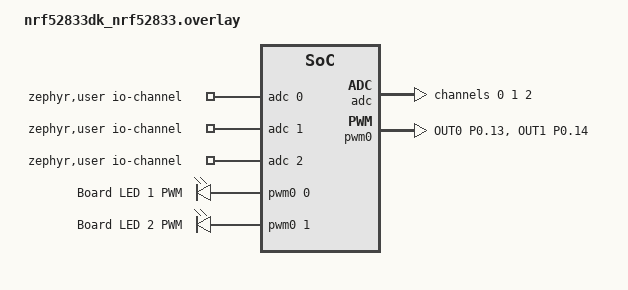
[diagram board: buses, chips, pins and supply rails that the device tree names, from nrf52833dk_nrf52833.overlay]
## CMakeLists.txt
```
# SPDX-License-Identifier: Apache-2.0

cmake_minimum_required(VERSION 3.20.0)
find_package(Zephyr REQUIRED HINTS $ENV{ZEPHYR_BASE})
project(blinky)

target_sources(app PRIVATE src/main.c src/bt_iphone.c)
```

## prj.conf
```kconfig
CONFIG_GPIO=y
CONFIG_LOG=y
CONFIG_ADC=y
CONFIG_ADC_NRFX_SAADC=y
CONFIG_CBPRINTF_FP_SUPPORT=y
CONFIG_PWM=y
CONFIG_BT=y
CONFIG_BT_PERIPHERAL=y
CONFIG_BT_DEVICE_NAME="SatyaDK"
CONFIG_BT_DEVICE_APPEARANCE=0
CONFIG_BT_MAX_CONN=1
CONFIG_BT_LL_SOFTDEVICE=y
CONFIG_BT_BAS=y
CONFIG_BT_SETTINGS=y
CONFIG_SETTINGS_RUNTIME=y
CONFIG_SETTINGS=y
CONFIG_SETTINGS_NONE=y
CONFIG_BT_DIS=y
CONFIG_BT_DIS_SETTINGS=y
CONFIG_BT_DIS_STR_MAX=25
CONFIG_BT_DIS_MODEL="BME_590_Final_Project"
CONFIG_BT_DIS_MANUF="Satya_Pusuluri"
CONFIG_BT_DIS_SERIAL_NUMBER=y
CONFIG_BT_DIS_SERIAL_NUMBER_STR="0001"
CONFIG_BT_DIS_FW_REV=y
CONFIG_BT_DIS_FW_REV_STR="0.1.0"
CONFIG_BT_DIS_HW_REV=y
CONFIG_BT_DIS_HW_REV_STR="0.1.0"
CONFIG_BT_DIS_SW_REV=y
CONFIG_BT_DIS_SW_REV_STR="0.1.0"
CONFIG_BT_DIS_PNP=y
CONFIG_BT_DIS_PNP_VID_SRC=1
CONFIG_BT_DIS_PNP_VID=0x03DF
```

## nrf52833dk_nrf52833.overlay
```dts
// To get started, press Ctrl+Space (or Option+Esc) to bring up the completion menu and view the available nodes.

// You can also use the buttons in the sidebar to perform actions on nodes.
// Actions currently available include:

// * Enabling / disabling the node
// * Adding the bus to a bus
// * Removing the node
// * Connecting ADC channels

// For more help, browse the DeviceTree documentation at https://docs.zephyrproject.org/latest/guides/dts/index.html
// You can also visit the nRF DeviceTree extension documentation at https://nrfconnect.github.io/vscode-nrf-connect/devicetree/nrfdevicetree.html
/ {
	zephyr,user {
		io-channels = <&adc 0>, <&adc 1>, <&adc 2>;
	};
    aliases{
		drv1 = &in1;
		drv2 = &in2;
        sin100 = &reslow;
        sin500 = &reshigh;
		vbat = &voltbat;
		button0=&button0;
		button1=&button1;
		button2=&button2;
    };
	pwm_mtr{
		compatible = "pwm-leds";
		in1: in_1 {
			pwms= <&pwm0 0 PWM_MSEC(1) PWM_POLARITY_INVERTED>;
			label = "Board LED 1 PWM";
		};

		in2: in_2 {
			pwms= <&pwm0 1 PWM_MSEC(1) PWM_POLARITY_INVERTED>;
			label = "Board LED 2 PWM";
		};
	};
};
&adc {
	#address-cells = <1>;
	#size-cells = <0>;

	reslow: channel@0 {
		reg = <0>;
		zephyr,gain = "ADC_GAIN_1";
		zephyr,reference = "ADC_REF_INTERNAL";
		zephyr,acquisition-time = <ADC_ACQ_TIME_DEFAULT>;
		zephyr,input-positive = <NRF_SAADC_AIN1>; // P0.03
        zephyr,input-negative = <NRF_SAADC_AIN2>; // P0.04
		zephyr,resolution = <12>;
	};

	reshigh: channel@1 {
		reg = <1>;
		zephyr,gain = "ADC_GAIN_1";
		zephyr,reference = "ADC_REF_INTERNAL";
		zephyr,acquisition-time = <ADC_ACQ_TIME_DEFAULT>;
		zephyr,input-positive = <NRF_SAADC_AIN4>; //P0.28
        zephyr,input-negative = <NRF_SAADC_AIN5>; //P0.29
		zephyr,resolution = <12>;
	};

	voltbat: channel@2 {
		reg = <2>;
		zephyr,gain = "ADC_GAIN_1_6";
		zephyr,reference = "ADC_REF_INTERNAL";
		zephyr,acquisition-time = <ADC_ACQ_TIME_DEFAULT>;
		zephyr,input-positive = <NRF_SAADC_AIN7>; // P0.31
		zephyr,resolution = <12>;
	};

	status = "okay";
};
&pwm0 {
	compatible = "nordic,nrf-pwm";
	reg = <0x4001c000 0x1000>;
	interrupts = <28 NRF_DEFAULT_IRQ_PRIORITY>; status = "okay";
	#pwm-cells = <3>;
	pinctrl-0 = <&pwm0_default>;
	pinctrl-1 = <&pwm0_sleep>;
	pinctrl-names = "default", "sleep";
};
&pinctrl {
    compatible = "nordic,nrf-pinctrl";
    status = "okay";
    pwm0_default: pwm0_default {
		group1 {
			psels = <NRF_PSEL(PWM_OUT0, 0, 13)>,
			<NRF_PSEL(PWM_OUT1, 0, 14)>; 
			nordic,invert;
		};
	 };
	pwm0_sleep: pwm0_sleep {
		group1 {
			psels = <NRF_PSEL(PWM_OUT0, 0, 13)>,
			<NRF_PSEL(PWM_OUT1,0,14)>;
		};
	};
};
```

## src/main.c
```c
#include <zephyr/kernel.h>
#include <zephyr/device.h>
#include <zephyr/drivers/gpio.h>
#include <zephyr/logging/log.h>
#include <zephyr/drivers/adc.h>
#include <zephyr/drivers/pwm.h>
#include <nrfx_power.h>
#include <math.h>
#include "bt_iphone.h"

LOG_MODULE_REGISTER(Final_Project, LOG_LEVEL_DBG);

#define ADC_SIN100_SAMPLE_RATE_MSEC 1
#define ADC_SIN500_SAMPLE_RATE_MSEC 1
#define LED3_ON_TIME_MS 1000
#define RMS_DATA_SAMPLE_RATE_MSEC 1000
#define ADC_SIN100_SAMPLE_SIZE 1000
#define ADC_SIN500_SAMPLE_SIZE 1000
#define VPP_CONV_RMS M_SQRT2
#define BLE_DATA_POINTS 10
#define LED_MAX_BRIGHTNESS 1
#define ADC_SIN100_MIN_VPP 5
#define ADC_SIN100_MAX_VPP 50
#define ADC_SIN500_MIN_VPP 10
#define ADC_SIN500_MAX_VPP 150 
#define NOMINAL_BAT_MV 3700
#define MAX_INPUT_MV 3000

#define ADC_DT_SPEC_GET_BY_ALIAS(node_id)                         \
    {                                                            \
        .dev = DEVICE_DT_GET(DT_PARENT(DT_ALIAS(node_id))),        \
        .channel_id = DT_REG_ADDR(DT_ALIAS(node_id)),            \
        ADC_CHANNEL_CFG_FROM_DT_NODE(DT_ALIAS(node_id))            \
    }                                                            \

#define DT_SPEC_AND_COMMA(node_id, prop, idx) \
	ADC_DT_SPEC_GET_BY_IDX(node_id, idx),

/* ADC channels (specified in DT overlay) */
static const struct adc_dt_spec adc_sin100 = ADC_DT_SPEC_GET_BY_ALIAS(sin100);
static const struct adc_dt_spec adc_sin500 = ADC_DT_SPEC_GET_BY_ALIAS(sin500);
static const struct adc_dt_spec adc_vbat = ADC_DT_SPEC_GET_BY_ALIAS(vbat);

/* PWM Channels */
static const struct pwm_dt_spec board_led1_drv = PWM_DT_SPEC_GET(DT_ALIAS(drv1)); 
static const struct pwm_dt_spec board_led2_drv = PWM_DT_SPEC_GET(DT_ALIAS(drv2));

/* LEDs */
static const struct gpio_dt_spec board_led1 = GPIO_DT_SPEC_GET(DT_ALIAS(led0), gpios);
static const struct gpio_dt_spec board_led2 = GPIO_DT_SPEC_GET(DT_ALIAS(led1), gpios);
static const struct gpio_dt_spec board_led3 = GPIO_DT_SPEC_GET(DT_ALIAS(led2), gpios);

/* Buttons */
static const struct gpio_dt_spec board_button1 = GPIO_DT_SPEC_GET(DT_ALIAS(button0), gpios);
static const struct gpio_dt_spec board_button2 = GPIO_DT_SPEC_GET(DT_ALIAS(button1), gpios);
static const struct gpio_dt_spec board_button3 = GPIO_DT_SPEC_GET(DT_ALIAS(button2), gpios);

/* Static Variables */
static int adc_sin100_mV = 0;
static int adc_sin500_mV = 0;
static float adc_sin100_RMS = 0.0;
static float adc_sin500_RMS = 0.0;
static int adc_sin100_VPP = 0;
static int adc_sin500_VPP = 0;
static int adc_vbat_mV = 0;
static float adc_sin100_percent_voltage;
static float adc_sin500_percent_voltage;
static int rms_data_count = 0;
static bool usbregstatus;
static bool vbus_state = 0;

/* Callback Declarations */
static struct gpio_callback board_button1_cb;
static struct gpio_callback board_button2_cb;
static struct gpio_callback board_button3_cb;
static struct bt_conn *current_conn;


/* Array Variables */
int sin100_values_mV[ADC_SIN100_SAMPLE_SIZE] = {0}; 
int sin500_values_mV[ADC_SIN500_SAMPLE_SIZE] = {0};
uint8_t RMS_data[BLE_DATA_POINTS] = {0};

/* Declarations */
void on_connected(struct bt_conn *conn, uint8_t ret);
void on_disconnected(struct bt_conn *conn, uint8_t reason);
void on_notif_changed(enum bt_data_notifications_enabled status);
void on_data_rx(struct bt_conn *conn, const uint8_t *const data, uint16_t len);
int setup_channels_and_pins(void);
int check_interfaces_ready(void);
int check_vbus(void);
void board_button1_callback(const struct device *dev, struct gpio_callback *cb, uint32_t pins);
void board_button2_callback(const struct device *dev, struct gpio_callback *cb, uint32_t pins);
void board_button3_callback(const struct device *dev, struct gpio_callback *cb, uint32_t pins);
int read_adc(struct adc_dt_spec adc_channel);
void read_adc_sin100(struct k_timer *adc_sin100_timer);
void read_adc_sin500(struct k_timer *adc_sin500_timer);
void collect_rms_data(struct k_timer *rms_collection_timer);
void stop_rms_data(struct k_timer *rms_collection_timer);
void boardled3_toggle(struct k_timer *vbus_timer);
void boardled3_stop(struct k_timer *vbus_timer);
float adc_sin100_calculate_led_brightness(int val_VPP);
float adc_sin500_calculate_led_brightness(int val_VPP);
float calculate_led_brightness(int val_VPP, int min_VPP, int max_VPP);
int calculate_ratio_voltage(int input_bat_mV);

/* BLE Structures and Callbacks */

struct bt_conn_cb bluetooth_callbacks = {
	.connected = on_connected,
	.disconnected = on_disconnected,
};

struct bt_remote_srv_cb remote_service_callbacks = {
	.notif_changed = on_notif_changed,
	.data_rx = on_data_rx,
};

void on_data_rx(struct bt_conn *conn, const uint8_t *const data, uint16_t len)
{
	// manually append NULL character at the end
	uint8_t temp_str[len+1];
	memcpy(temp_str, data, len);
	temp_str[len] = 0x00;

	LOG_INF("BT received data on conn %p. Len: %d", (void *)conn, len);
	LOG_INF("Data: %s", temp_str);
}

void on_connected(struct bt_conn *conn, uint8_t ret) 
{
	if (ret) {
		LOG_ERR("Connection error: %d", ret);
	}
	LOG_INF("BT connected");
	current_conn = bt_conn_ref(conn);
}

void on_disconnected(struct bt_conn *conn, uint8_t reason)
{
	LOG_INF("BT disconnected (reason: %d)", reason);
	if (current_conn) {
		bt_conn_unref(current_conn);
		current_conn = NULL;
	}
}

void on_notif_changed(enum bt_data_notifications_enabled status)
{
	if (status == BT_DATA_NOTIFICATIONS_ENABLED) {
		LOG_INF("BT notifications enabled");
	}
	else {
		LOG_INF("BT notifications disabled");
	}
}


/* Define Timers*/
K_TIMER_DEFINE(adc_sin100_timer, read_adc_sin100, NULL);
K_TIMER_DEFINE(adc_sin500_timer, read_adc_sin500, NULL);
K_TIMER_DEFINE(rms_collection_timer, collect_rms_data, stop_rms_data);
K_TIMER_DEFINE(vbus_timer, boardled3_toggle, boardled3_stop);

/* Timer Functions*/
void read_adc_sin100(struct k_timer *adc_sin100_timer){
	for (int i=0; i < ADC_SIN100_SAMPLE_SIZE - 1; i++){
		sin100_values_mV[i] = sin100_values_mV[i+1];
	}
	sin100_values_mV[ADC_SIN100_SAMPLE_SIZE -1] = adc_sin100_mV;
}
void read_adc_sin500(struct k_timer *adc_sin500_timer){
	//LOG_DBG("Reading Sinusoid 500 Hz");
	for (int i=0; i < ADC_SIN500_SAMPLE_SIZE - 1; i++){
		sin500_values_mV[i] = sin500_values_mV[i+1];
	}
	sin500_values_mV[ADC_SIN500_SAMPLE_SIZE -1] = adc_sin500_mV;
}
void collect_rms_data(struct k_timer *rms_collection_timer){
	/*RMS_data array looks like this: 
	[1 sec 100 Hz sinusoid RMS, 1 sec 500 Hz sinusoid RMS
	2 sec 100 Hz sinusoid RMS, 2 sec 500 Hz sinusoid RMS
	3 sec 100 Hz sinusoid RMS, 3 sec 500 Hz sinusoid RMS
	4 sec 100 Hz sinusoid RMS, 4 sec 500 Hz sinusoid RMS
	5 sec 100 Hz sinusoid RMS, 5 sec 500 Hz sinusoid RMS]
	*/
	LOG_DBG("RMS Data Collected");
	RMS_data[rms_data_count]= (uint8_t) adc_sin100_RMS;
	rms_data_count++;
	RMS_data[rms_data_count]= (uint8_t) adc_sin500_RMS;
	if(rms_data_count == BLE_DATA_POINTS - 1){
		k_timer_stop(rms_collection_timer);
		rms_data_count = 0;
		set_data(RMS_data);
	}
	else{
		rms_data_count++;
	}
}
void stop_rms_data(struct k_timer *rms_collection_timer){
	LOG_DBG("RMS Data Stopped");
}
void boardled3_toggle(struct k_timer *vbus_timer){
	gpio_pin_toggle_dt(&board_led3);
	LOG_DBG("LED 3 Toggle");
}
void boardled3_stop(struct k_timer *vbus_timer){
	LOG_DBG("LED 3 turned off.");
	gpio_pin_set_dt(&board_led3, 0);
}
/* Callbacks */
void board_button1_callback(const struct device *dev, struct gpio_callback *cb, uint32_t pins)
{
	LOG_DBG("Button 1 pressed.");
	k_timer_start(&rms_collection_timer, K_MSEC(RMS_DATA_SAMPLE_RATE_MSEC), K_MSEC(RMS_DATA_SAMPLE_RATE_MSEC));
}
void board_button2_callback(const struct device *dev, struct gpio_callback *cb, uint32_t pins)
{
	int err;
	err = send_data_notification(current_conn, RMS_data, BLE_DATA_POINTS);
	if (err){
		LOG_ERR("Could not send BT notification (err: %d)", err);
	}
	else{
		LOG_INF("BT data transmitted.");
	}
}

void board_button3_callback(const struct device *dev, struct gpio_callback *cb, uint32_t pins)
{
	/* Callback updates battery level */
	int err;
	float normalized_level;
	LOG_INF("Battery Voltage (mV): %d", adc_vbat_mV);
	normalized_level = (float)adc_vbat_mV*100.0/(float)NOMINAL_BAT_MV;
	LOG_INF("Normalized Battery Level: %f", normalized_level);
	err = bt_bas_set_battery_level((int)normalized_level);
	if (err){
		LOG_ERR("BAS set error (err = %d)", err);
	}
	else{
		LOG_DBG("Battery Level set sucessfullly.");
	}
}

/* RMS calculation function */
float calculate_rms(int sin_arr[], int sample_size){
	float array_sum = 0.0;
	for (int i = 0; i < sample_size; i++){
		array_sum += (float)sin_arr[i] * (float)sin_arr[i];
	}
	return sqrtf(array_sum / (float)sample_size);
}

int calculate_VPP(float rms_value){
	return (int)(rms_value * VPP_CONV_RMS);
}

void main(void)
{
	int err;
	err = check_interfaces_ready();
	if (err){
		LOG_ERR("Device interface not ready (err = %d)", err);
	}
	err = setup_channels_and_pins();
	if (err){
		LOG_ERR("Error configuring IO pins (err = %d", err);
	}
	/* Setup Callbacks */
	err = gpio_pin_interrupt_configure_dt(&board_button1, GPIO_INT_EDGE_TO_ACTIVE);
	if (err < 0){
		LOG_ERR("Error configuring button 1 callback");
		return;
	}	
	gpio_init_callback(&board_button1_cb, board_button1_callback, BIT(board_button1.pin));
	gpio_add_callback(board_button1.port, &board_button1_cb);

	err = gpio_pin_interrupt_configure_dt(&board_button2, GPIO_INT_EDGE_TO_ACTIVE);
	if (err < 0){
		LOG_ERR("Error configuring button 2 callback");
		return;
	}
	gpio_init_callback(&board_button2_cb, board_button2_callback, BIT(board_button2.pin));
	gpio_add_callback(board_button2.port, &board_button2_cb);

	err = gpio_pin_interrupt_configure_dt(&board_button3, GPIO_INT_EDGE_TO_ACTIVE);
	if (err < 0){
		LOG_ERR("Error configuring button 3 callback");
		return;
	}
	gpio_init_callback(&board_button3_cb, board_button3_callback, BIT(board_button3.pin));
	gpio_add_callback(board_button3.port, &board_button3_cb);

	gpio_pin_set_dt(&board_led1, 1);
	gpio_pin_set_dt(&board_led2, 1);	
	/* Bluetooh Setup */
	err = bluetooth_init(&bluetooth_callbacks, &remote_service_callbacks);
	if (err){
		LOG_ERR("BT init failed (err = %d)", err);
	}
	k_timer_start(&adc_sin100_timer, K_MSEC(ADC_SIN100_SAMPLE_RATE_MSEC), K_MSEC(ADC_SIN100_SAMPLE_RATE_MSEC));
	k_timer_start(&adc_sin500_timer, K_MSEC(ADC_SIN500_SAMPLE_RATE_MSEC), K_MSEC(ADC_SIN500_SAMPLE_RATE_MSEC));
	while (1) {
		/* VBUS Check */
		err = check_vbus();
		if (err && !vbus_state){
			vbus_state = 1;
			k_timer_start(&vbus_timer, K_MSEC(LED3_ON_TIME_MS), K_MSEC(LED3_ON_TIME_MS));
			k_timer_stop(&adc_sin100_timer);
			k_timer_stop(&adc_sin500_timer);
			continue;
		}
		if (err && vbus_state){
			continue;
		}
		if (!err && vbus_state){
			k_timer_stop(&vbus_timer);
			k_timer_start(&adc_sin100_timer, K_MSEC(ADC_SIN100_SAMPLE_RATE_MSEC), K_MSEC(ADC_SIN100_SAMPLE_RATE_MSEC));
			k_timer_start(&adc_sin500_timer, K_MSEC(ADC_SIN500_SAMPLE_RATE_MSEC), K_MSEC(ADC_SIN500_SAMPLE_RATE_MSEC));		
			vbus_state = 0;
		}
		/* Read ADC Channels */
		adc_sin100_mV = read_adc(adc_sin100);
		adc_sin500_mV = read_adc(adc_sin500);
		adc_vbat_mV = calculate_ratio_voltage(read_adc(adc_vbat));
		/* Calculate RMS & VPP */
		adc_sin100_RMS = calculate_rms(sin100_values_mV, ADC_SIN100_SAMPLE_SIZE);
		adc_sin500_RMS = calculate_rms(sin500_values_mV, ADC_SIN500_SAMPLE_SIZE);
		adc_sin100_VPP = calculate_VPP(adc_sin100_RMS);
		adc_sin500_VPP = calculate_VPP(adc_sin500_RMS);
		/* Calculate LED Brightness Percentage */
		adc_sin100_percent_voltage = calculate_led_brightness(adc_sin100_VPP, ADC_SIN100_MIN_VPP, ADC_SIN100_MAX_VPP);
		if (adc_sin100_percent_voltage < 0){
			adc_sin100_percent_voltage = 0.0;
		}
		if (adc_sin100_percent_voltage > 1){
			adc_sin100_percent_voltage = 1.0;
		}
		adc_sin500_percent_voltage = calculate_led_brightness(adc_sin500_VPP, ADC_SIN500_MIN_VPP, ADC_SIN500_MAX_VPP);
		if (adc_sin500_percent_voltage < 0){
			adc_sin500_percent_voltage = 0.0;
		}
		if (adc_sin500_percent_voltage > 1){
			adc_sin500_percent_voltage = 1.0;
		}
		/* Set PWM Pulse */
		uint32_t board_led1_pulse = board_led1_drv.period * adc_sin100_percent_voltage;
		uint32_t board_led2_pulse = board_led2_drv.period * adc_sin500_percent_voltage;
		err = pwm_set_pulse_dt(&board_led1_drv, board_led1_pulse);
		if (err) {
			LOG_ERR("Could not set Board LED 1 (PWM0)");
		}
		err = pwm_set_pulse_dt(&board_led2_drv, board_led2_pulse);
		if (err) {
			LOG_ERR("Could not set Board LED 2 (PWM0)");
		}
	}
}
int read_adc(struct adc_dt_spec adc_channel)
{
	int16_t buf;
	int32_t val_mv;
	int ret;

	struct adc_sequence sequence = {
		.buffer = &buf,
		.buffer_size = sizeof(buf), // bytes
	};

	//LOG_INF("Measuring %s (channel %d)... ", adc_channel.dev->name, adc_channel.channel_id);

	(void)adc_sequence_init_dt(&adc_channel, &sequence);

	ret = adc_read(adc_channel.dev, &sequence);
	if (ret < 0) {
		//LOG_ERR("Could not read (%d)", ret);
	} else {
		//LOG_DBG("Raw ADC Buffer: %d", buf);
	}

	val_mv = buf;
	ret = adc_raw_to_millivolts_dt(&adc_channel, &val_mv);
	if (ret < 0) {
		//LOG_WRN("Buffer cannot be converted to mV; returning raw buffer value.");
		return buf;
	} else {
		//LOG_INF("ADC Value (mV): %d", val_mv);
		return val_mv;
	}
}
int check_interfaces_ready(void){
	/* This should check for the entire gpio0 interface*/
	if (!device_is_ready(board_led1.port)) {
		LOG_ERR("gpio0 interface not ready.");
		return -1;
	}
	/* This should check ADC channels*/
	if (!device_is_ready(adc_sin100.dev) || !device_is_ready(adc_sin500.dev) || !device_is_ready(adc_vbat.dev)) {
		LOG_ERR("ADC controller device(s) not ready");
		return -1;
	}
	if (!device_is_ready(board_led1_drv.dev)) {
		LOG_ERR("PWM Device %s is not ready.", board_led1_drv.dev->name);
		return -1;
	}	
	return 0;	
}
int setup_channels_and_pins(void){
	int ret;
	/* Setup ADC channels */
	ret = adc_channel_setup_dt(&adc_sin100);
	if (ret < 0) {
		LOG_ERR("Could not setup Sin 100 ADC channel (%d)", ret);
		return ret;
	}
	ret = adc_channel_setup_dt(&adc_sin500);
	if (ret < 0) {
		LOG_ERR("Could not setup Sin 500 ADC channel (%d)", ret);
		return ret;
	}
	ret = adc_channel_setup_dt(&adc_vbat);
	if (ret < 0) {
		LOG_ERR("Could not setup Voltage Battery ADC channel (%d)", ret);
		return ret;
	}
	/* Configure GPIO pins*/
	ret = gpio_pin_configure_dt(&board_led1, GPIO_OUTPUT_INACTIVE | GPIO_ACTIVE_LOW);
	if (ret < 0) {
		LOG_ERR("Cannot configure board led 1.");
		return ret;
	}
	ret = gpio_pin_configure_dt(&board_led2, GPIO_OUTPUT_INACTIVE | GPIO_ACTIVE_LOW);
	if (ret < 0){
		LOG_ERR("Cannot configure board led 2.");
		return ret;
	}
	ret = gpio_pin_configure_dt(&board_led3, GPIO_OUTPUT_INACTIVE | GPIO_ACTIVE_LOW);
	if (ret < 0){
		LOG_ERR("Cannot configure board led 3.");
		return ret;
	}
	ret = gpio_pin_configure_dt(&board_button1, GPIO_INPUT);
	if (ret < 0){
		LOG_ERR("Cannot configure board 1 button.");
		return ret;
	}
	ret = gpio_pin_configure_dt(&board_button2, GPIO_INPUT);
	if (ret < 0){
		LOG_ERR("Cannot configure board 2 button.");
		return ret;
	}
	ret = gpio_pin_configure_dt(&board_button3, GPIO_INPUT);
	if (ret < 0){
		LOG_ERR("Cannot configure board 3 button.");
		return ret;
	}
	return 0;
}

float calculate_led_brightness(int val_VPP, int min_VPP, int max_VPP){
	float slope = ((float)LED_MAX_BRIGHTNESS) / ((float)max_VPP - (float)min_VPP);
	float intercept = ((float)min_VPP) / ((float)max_VPP - (float)min_VPP);
	return (float) (slope) * (float)(val_VPP) - (float)(intercept);
}

int check_vbus() {
    /* check for voltage on VBUS (USB-C charging cable attached)
    
    Returns:
        0 - VBUS not detected
        1 - VBUS detected (need to kill device function)
    */

    usbregstatus = nrf_power_usbregstatus_vbusdet_get(NRF_POWER);;
    if (usbregstatus) {
        //LOG_ERR("VBUS voltage detected.  Device cannot be operated while charging.");
        return -1;
    }
    else {
        //LOG_DBG("VBUS voltage checked and not detected.");
    }
    return 0;
}

int calculate_ratio_voltage(int input_bat_mV){
	/* Scale the voltage between (0,0) and (3,3.7)*/
	/* where x is the input voltage and y is the battery voltage*/
	return (int) ((float) NOMINAL_BAT_MV / (float) MAX_INPUT_MV * (float) input_bat_mV);
}
```

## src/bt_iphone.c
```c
#include "bt_iphone.h"

LOG_MODULE_REGISTER(bt_iphone, LOG_LEVEL_DBG);

static K_SEM_DEFINE(bt_init_ok, 1, 1);


#define DEVICE_NAME CONFIG_BT_DEVICE_NAME
#define DEVICE_NAME_LEN (sizeof(DEVICE_NAME)-1)
#define BLE_DATA_POINTS 10


static uint8_t rms_data[BLE_DATA_POINTS] = {0};
static struct bt_remote_srv_cb remote_service_callbacks;
enum bt_data_notifications_enabled notifications_enabled;

/* Advertising data */
static const struct bt_data ad[] = {
	BT_DATA_BYTES(BT_DATA_FLAGS, (BT_LE_AD_GENERAL | BT_LE_AD_NO_BREDR)),
	BT_DATA(BT_DATA_NAME_COMPLETE, DEVICE_NAME, DEVICE_NAME_LEN)
};

/* Scan response data */
static const struct bt_data sd[] = {
	BT_DATA_BYTES(BT_DATA_UUID128_ALL, BT_UUID_REMOTE_SERV_VAL), 
};


/* Declarations */
static ssize_t read_data_cb(struct bt_conn *conn, const struct bt_gatt_attr *attr, void *buf, uint16_t len, uint16_t offset);
void data_ccc_cfg_changed_cb(const struct bt_gatt_attr *attr, uint16_t value);
static ssize_t on_write(struct bt_conn *conn, const struct bt_gatt_attr *attr, const void *buf, uint16_t len, uint16_t offset, uint8_t flags);
void set_data(uint8_t *input_data);


/* Setup services */
BT_GATT_SERVICE_DEFINE(remote_srv,
    BT_GATT_PRIMARY_SERVICE(BT_UUID_REMOTE_SERVICE),
	BT_GATT_CHARACTERISTIC(BT_UUID_REMOTE_DATA_CHRC,
					BT_GATT_CHRC_READ | BT_GATT_CHRC_NOTIFY,
					BT_GATT_PERM_READ,
					read_data_cb, NULL, NULL),
	BT_GATT_CCC(data_ccc_cfg_changed_cb, BT_GATT_PERM_READ | BT_GATT_PERM_WRITE),
	BT_GATT_CHARACTERISTIC(BT_UUID_REMOTE_MESSAGE_CHRC,
					BT_GATT_CHRC_WRITE_WITHOUT_RESP,
					BT_GATT_PERM_WRITE,
					NULL, on_write, NULL),
);

/* Callbacks */
void data_ccc_cfg_changed_cb(const struct bt_gatt_attr *attr, uint16_t value)
{
	bool notif_enabled = (value == BT_GATT_CCC_NOTIFY);
	LOG_INF("Notifications: %s", notif_enabled? "enabled":"disabled");

	notifications_enabled = notif_enabled? BT_DATA_NOTIFICATIONS_ENABLED:BT_DATA_NOTIFICATIONS_DISABLED;

	if (remote_service_callbacks.notif_changed) {
		remote_service_callbacks.notif_changed(notifications_enabled);
	}
}

static ssize_t read_data_cb(struct bt_conn *conn, const struct bt_gatt_attr *attr, void *buf, uint16_t len, uint16_t offset)
{
	return bt_gatt_attr_read(conn, attr, buf, len, offset, &rms_data, sizeof(rms_data));
}

static ssize_t on_write(struct bt_conn *conn, const struct bt_gatt_attr *attr, const void *buf, uint16_t len, uint16_t offset, uint8_t flags)
{
	LOG_INF("Received data, handle %d, conn %p", attr->handle, (void *)conn);
	
	if (remote_service_callbacks.data_rx) {
		remote_service_callbacks.data_rx(conn, buf, len);
	}
	return len;
}


void on_sent(struct bt_conn *conn, void *user_data)
{
	ARG_UNUSED(user_data);
	LOG_INF("Notification sent on connection %p", (void *)conn);
}

void bt_ready(int ret)
{
	if (ret) {
		LOG_ERR("bt_enable returned %d", ret);
	}

	// release the thread once initialized
	k_sem_give(&bt_init_ok);
}


int send_data_notification(struct bt_conn *conn, uint8_t *value, uint16_t length)
{
	int ret = 0;

	struct bt_gatt_notify_params params = {0};
	const struct bt_gatt_attr *attr = &remote_srv.attrs[2];

	params.attr = attr;
	params.data = &rms_data;
	params.len = length;
	params.func = on_sent;

	ret = bt_gatt_notify_cb(conn, &params);

	return ret;
}


void set_data(uint8_t *input_data)
{
	memcpy(rms_data, input_data, sizeof(rms_data));
	LOG_DBG("Data set via memcpy (size = %d).", sizeof(rms_data));
}


int bluetooth_init(struct bt_conn_cb *bt_cb, struct bt_remote_srv_cb *remote_cb)
{
	int ret;

	LOG_INF("Initializing Bluetooth");

	if ((bt_cb == NULL) | (remote_cb == NULL)) {
		return -NRFX_ERROR_NULL;
	}
	bt_conn_cb_register(bt_cb);
	remote_service_callbacks.notif_changed = remote_cb->notif_changed;
	remote_service_callbacks.data_rx = remote_cb->data_rx;

	ret = bt_enable(bt_ready);
	if (ret) {
		LOG_ERR("bt_enable returned %d", ret);
		return ret;
	}

	// hold the thread until Bluetooth is initialized
	k_sem_take(&bt_init_ok, K_FOREVER);

	if (IS_ENABLED(CONFIG_BT_SETTINGS)) {
		settings_load();
	}

	ret = bt_le_adv_start(BT_LE_ADV_CONN, ad, ARRAY_SIZE(ad), sd, ARRAY_SIZE(sd));
	if (ret) {
		LOG_ERR("Could not start advertising (ret = %d)", ret);
		return ret;
	}

	return ret;
}
```

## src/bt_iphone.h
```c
#ifndef BT_IPHONE_H
#define BT_IPHONE_H

#include <zephyr/kernel.h>
#include <zephyr/device.h>
#include <zephyr/logging/log.h>

#include <zephyr/bluetooth/bluetooth.h>
#include <zephyr/bluetooth/uuid.h>
#include <zephyr/bluetooth/gatt.h>
#include <zephyr/bluetooth/hci.h>
#include <zephyr/settings/settings.h>
#include <zephyr/bluetooth/services/bas.h>

/* UUID of the Remote Service */
// Blur Project ID: 007 (3rd entry)
// Blur BLE MFG ID = 0x03DF (4th entry)
#define BT_UUID_REMOTE_SERV_VAL \
	    BT_UUID_128_ENCODE(0xe2ea0000, 0xe29b, 0x0007, 0x03DF, 0xc8543272fc23)

/* UUID of the Data Characteristic */
#define BT_UUID_REMOTE_DATA_CHRC_VAL \
	    BT_UUID_128_ENCODE(0xe2ea0001, 0xe29b, 0x0007, 0x03DF, 0xc8543272fc23)

/* UUID of the Message Characteristic */
#define BT_UUID_REMOTE_MESSAGE_CHRC_VAL \
	    BT_UUID_128_ENCODE(0xe2ea0002, 0xe29b, 0x0007, 0x03DF, 0xc8543272fc23)

#define BT_UUID_REMOTE_SERVICE 			BT_UUID_DECLARE_128(BT_UUID_REMOTE_SERV_VAL)
#define BT_UUID_REMOTE_DATA_CHRC 		BT_UUID_DECLARE_128(BT_UUID_REMOTE_DATA_CHRC_VAL)
#define BT_UUID_REMOTE_MESSAGE_CHRC 	BT_UUID_DECLARE_128(BT_UUID_REMOTE_MESSAGE_CHRC_VAL)

enum bt_data_notifications_enabled {
	BT_DATA_NOTIFICATIONS_ENABLED,
	BT_DATA_NOTIFICATIONS_DISABLED,
};

struct bt_remote_srv_cb {
	void (*notif_changed)(enum bt_data_notifications_enabled status);
	void (*data_rx)(struct bt_conn *conn, const uint8_t *const data, uint16_t len);
};
/* Function declarations for bt_iphone.c*/
void set_data(uint8_t *input_data);
int send_data_notification(struct bt_conn *conn, uint8_t *value, uint16_t length);
int bluetooth_init(struct bt_conn_cb *bt_cb, struct bt_remote_srv_cb *remote_cb);
#endif
```
